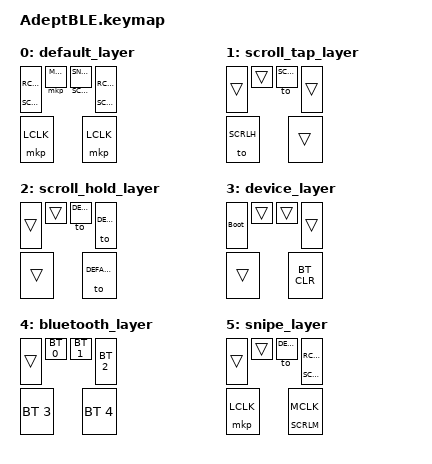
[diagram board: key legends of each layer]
#include <behaviors/mouse_keys.dtsi>
#include <behaviors.dtsi>
#include <dt-bindings/zmk/bt.h>
#include <dt-bindings/zmk/keys.h>
#include <dt-bindings/zmk/mouse.h>
#include <dt-bindings/zmk/outputs.h>

#define DEFAULT 0
#define SCRLM 1
#define SCRLH 2
#define DEVICE 3
#define BLTH 4
#define SNIPE 5

/ {
  combos {
    compatible = "zmk,combos";
    combo_esc {
      timeout-ms = <50>;
      key-positions = <2 3>;
      bindings = <&mkp RCLK>;
    };
  };
  behaviors {
    ltm: layer-tap-or-mouse {
      compatible = "zmk,behavior-hold-tap";
      #binding-cells = <2>;
      flavor = "tap-preferred";
      tapping-term-ms = <200>;
      bindings = <&mo>, <&mkp>;
    };
    lhm: layer-tap-hold-or-mouse {
      compatible = "zmk,behavior-hold-tap";
      #binding-cells = <2>;
      flavor = "hold-preferred";
      hold-while-undecided;
      tapping-term-ms = <150>;
      bindings = <&mo>, <&mkp>;
    };
    mto: momentary-and-toggle {
      compatible = "zmk,behavior-hold-tap";
      #binding-cells = <2>;
      flavor = "hold-preferred";
      hold-while-undecided;
      tapping-term-ms = <200>;
      bindings = <&mo>, <&to>;
    };
  };
  keymap {
    compatible = "zmk,keymap";
    default_layer {
      bindings = <
        &ltm SCRLM RCLK &mkp MCLK  &mto SCRLM SNIPE &lhm SCRLM RCLK
        &mkp LCLK                                      &mkp LCLK
      >;
    };
    scroll_tap_layer {
      bindings = <
        &trans &trans &to SCRLH &trans
        &to SCRLH               &trans
      >;
    };
    scroll_hold_layer {
      bindings = <
        &trans &trans  &to DEFAULT &to DEFAULT
        &trans                    &to DEFAULT
      >;
    };
    device_layer {
      bindings = <
        &bootloader &trans &trans &trans
        &trans                    &bt BT_CLR
      >;
    };
    bluetooth_layer {
      bindings = <
        &trans &bt BT_SEL 0 &bt BT_SEL 1 &bt BT_SEL 2
        &bt BT_SEL 3                     &bt BT_SEL 4
      >;
    };
    snipe_layer {
      bindings = <
        &trans &trans &to DEFAULT &lhm SCRLM RCLK
        &mkp LCLK                 &lhm SCRLM MCLK
      >;
    };
  };
};
